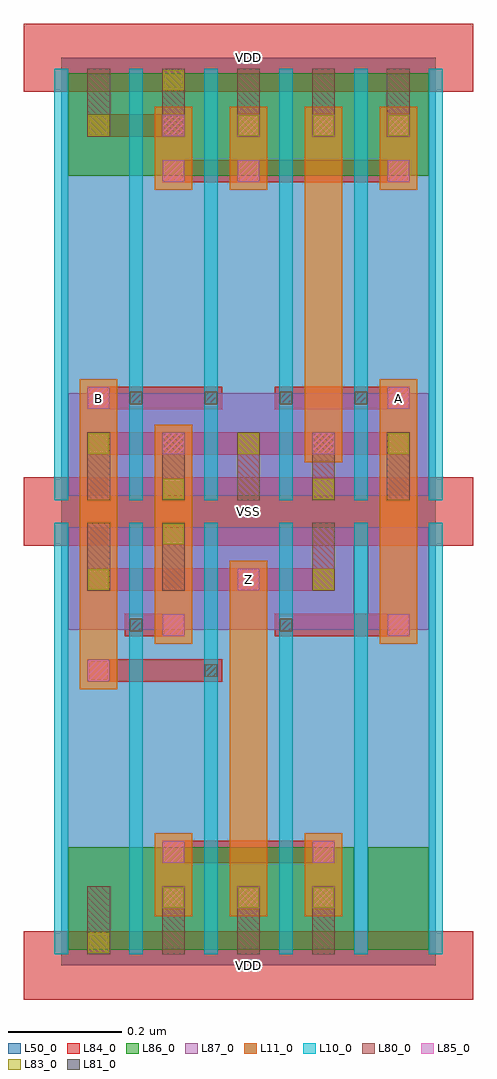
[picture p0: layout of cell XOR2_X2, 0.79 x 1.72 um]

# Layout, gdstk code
import gdstk
lib = gdstk.Library(unit=1e-6, precision=1e-09)
def R(c, l, rs):  # rectangles x0, y0, x1, y1
    for r in rs: c.add(gdstk.rectangle(r[:2], r[2:], *l))
def A(c, l, x, y, w, h, nx, ny, dx, dy):  # array of equal rectangles
    R(c, l, [(x+i*dx, y+j*dy, x+i*dx+w, y+j*dy+h) for i in range(nx) for j in range(ny)])
L10_0 = (10, 0)
L11_0 = (11, 0)
L50_0 = (50, 0)
L80_0 = (80, 0)
L81_0 = (81, 0)
L83_0 = (83, 0)
L84_0 = (84, 0)
L85_0 = (85, 0)
L86_0 = (86, 0)
L87_0 = (87, 0)

xor2_x2 = lib.new_cell('XOR2_X2')
A(xor2_x2, L10_0, -0.012, 0.02, 0.024, 0.76, 6, 2, 0.132, 0.8)
R(xor2_x2, L11_0, [(0.165,0.087,0.231,0.233), (0.297,0.087,0.363,0.713), (0.429,0.087,0.495,0.233), (0.033,0.487,0.099,1.033), (0.165,0.567,0.231,0.953), (0.561,0.567,0.627,1.033), (0.429,0.887,0.495,1.513), (0.165,1.367,0.231,1.513), (0.297,1.367,0.363,1.513), (0.561,1.367,0.627,1.513)])
R(xor2_x2, L50_0, [(0,0,0.66,1.6)])
A(xor2_x2, L80_0, 0.046, 0.02, 0.04, 0.12, 4, 1, 0.132, 0)
A(xor2_x2, L80_0, 0.046, 0.82, 0.04, 0.12, 5, 2, 0.132, 0.64)
R(xor2_x2, L80_0, [(0.046,0.66,0.086,0.78), (0.178,0.66,0.218,0.78), (0.442,0.66,0.482,0.78)])
A(xor2_x2, L81_0, 0.121, 0.989, 0.022, 0.022, 4, 1, 0.132, 0)
R(xor2_x2, L81_0, [(0.253,0.509,0.275,0.531), (0.121,0.589,0.143,0.611), (0.385,0.589,0.407,0.611)])
A(xor2_x2, L83_0, 0.18, 0.102, 0.036, 0.036, 3, 1, 0.132, 0)
A(xor2_x2, L83_0, 0.048, 0.902, 0.036, 0.036, 3, 1, 0.264, 0)
A(xor2_x2, L83_0, 0.312, 1.462, 0.036, 0.036, 3, 1, 0.132, 0)
R(xor2_x2, L83_0, [(0.048,0.022,0.084,0.058), (0.048,0.662,0.084,0.698), (0.444,0.662,0.48,0.698), (0.18,0.742,0.216,0.778), (0.18,0.822,0.216,0.858), (0.444,0.822,0.48,0.858), (0.048,1.462,0.084,1.498), (0.18,1.542,0.216,1.578)])
A(xor2_x2, L84_0, -0.066, -0.06, 0.792, 0.12, 1, 3, 0, 0.8)
A(xor2_x2, L84_0, 0.178, 0.1, 0.04, 0.04, 3, 1, 0.132, 0)
A(xor2_x2, L84_0, 0.31, 1.46, 0.04, 0.04, 3, 1, 0.132, 0)
R(xor2_x2, L84_0, [(0.178,0.18,0.482,0.22), (0.046,0.5,0.284,0.54), (0.112,0.58,0.218,0.62), (0.376,0.58,0.614,0.62), (0.046,0.66,0.482,0.7), (0.046,0.9,0.614,0.94), (0.046,0.98,0.284,1.02), (0.376,0.98,0.614,1.02), (0.178,1.38,0.614,1.42), (0.046,1.46,0.218,1.5)])
A(xor2_x2, L85_0, 0.179, 0.101, 0.038, 0.038, 3, 1, 0.132, 0)
A(xor2_x2, L85_0, 0.575, 0.581, 0.038, 0.038, 1, 3, 0, 0.4)
A(xor2_x2, L85_0, 0.179, 1.461, 0.038, 0.038, 4, 1, 0.132, 0)
R(xor2_x2, L85_0, [(0.179,0.181,0.217,0.219), (0.443,0.181,0.481,0.219), (0.047,0.501,0.085,0.539), (0.179,0.581,0.217,0.619), (0.311,0.661,0.349,0.699), (0.179,0.901,0.217,0.939), (0.443,0.901,0.481,0.939), (0.047,0.981,0.085,1.019), (0.179,1.381,0.217,1.419), (0.311,1.381,0.349,1.419)])
R(xor2_x2, L86_0, [(0.012,0.028,0.516,0.208), (0.54,0.028,0.648,0.208), (0.012,1.392,0.648,1.572)])
R(xor2_x2, L87_0, [(0.012,0.592,0.516,0.772), (0.54,0.592,0.648,0.772), (0.012,0.828,0.648,1.008)])
xor2_x2.add(gdstk.Label('VDD', (0.33,1.6), layer=88, texttype=0))
xor2_x2.add(gdstk.Label('VDD', (0.33,0), layer=88, texttype=0))
xor2_x2.add(gdstk.Label('VSS', (0.33,0.8), layer=88, texttype=0))
xor2_x2.add(gdstk.Label('Z', (0.33,0.68), layer=31, texttype=0))
xor2_x2.add(gdstk.Label('A', (0.594,1), layer=31, texttype=0))
xor2_x2.add(gdstk.Label('B', (0.066,1), layer=31, texttype=0))

lib.write_gds('XOR2_X2.gds')
